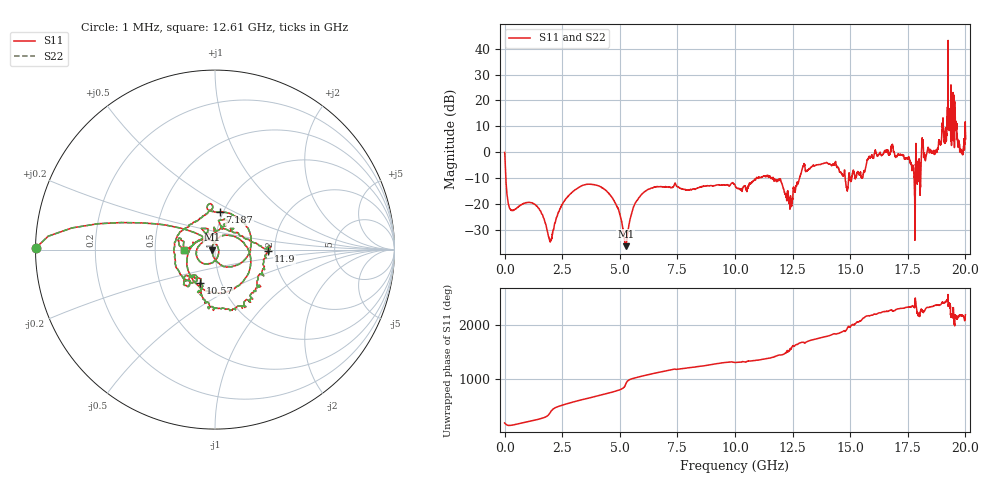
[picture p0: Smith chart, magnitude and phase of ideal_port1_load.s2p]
! Created with skrf (http://scikit-rf.org).
# GHz S RI R 50.0
!freq ReS11 ImS11 ReS21 ImS21 ReS12 ImS12 ReS22 ImS22
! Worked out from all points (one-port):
!   10001 points, 1 MHz to 20 GHz, reference 50 ohm
!   lowest |S11| = -36.1 dB at 5.257 GHz (marker M1), VSWR 1.03, Z = 48.5 - j0.00364 ohm
!   |S11| at or under -10 dB: 56.02 MHz to 10.92 GHz (10.86 GHz wide, 198 % of centre); 11.67 GHz to 12.8 GHz (1.131 GHz wide, 9.24 % of centre); 14.78 GHz to 14.93 GHz (148.7 MHz wide, 1 % of centre) (the widest 3 of 16)
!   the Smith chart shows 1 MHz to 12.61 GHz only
!   S11 on the Smith chart (normalised r, x): 1 MHz: 0.00, +0.00; 7.187 GHz: 0.97, +0.42; 10.57 GHz: 0.79, -0.31; 11.9 GHz: 1.83, -0.04; 12.61 GHz: 0.69, -0.01
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0.001  -0.9982 0.00933  0 0  0 0  -0.9982 0.00933
1.974901  0.0186 0.00333  0 0  0 0  0.0186 0.00333
3.334833  -0.0806 -0.212  0 0  0 0  -0.0806 -0.212
5.256737  -0.0156 -3.76e-05  0 0  0 0  -0.0156 -3.76e-05
6.668667  0.1737 0.1316  0 0  0 0  0.1737 0.1316
7.186641  0.0279 0.2089  0 0  0 0  0.0279 0.2089
10.0005  -0.1752 -0.1587  0 0  0 0  -0.1752 -0.1587
10.56647  -0.0835 -0.1862  0 0  0 0  -0.0835 -0.1862
11.89841  0.2945 -0.00891  0 0  0 0  0.2945 -0.00891
12.61437  -0.1817 -0.00675  0 0  0 0  -0.1817 -0.00675
13.33433  0.0977 -0.5215  0 0  0 0  0.0977 -0.5215
16.66817  -0.1152 0.8986  0 0  0 0  -0.1152 0.8986
18.19409  -0.0941 0.8487  0 0  0 0  -0.0941 0.8487
18.87606  -1.392 -0.6047  0 0  0 0  -1.392 -0.6047
19.14604  -0.2375 -2.261  0 0  0 0  -0.2375 -2.261
19.15004  -0.2451 -1.804  0 0  0 0  -0.2451 -1.804
19.22204  1.53 -5.472  0 0  0 0  1.53 -5.472
19.34803  -3.941 -1.422  0 0  0 0  -3.941 -1.422
19.35003  -7.088 0.6507  0 0  0 0  -7.088 0.6507
19.39803  1.335 0.257  0 0  0 0  1.335 0.257
19.60002  3.38 -0.9664  0 0  0 0  3.38 -0.9664
20  1.564 0.8435  0 0  0 0  1.564 0.8435
